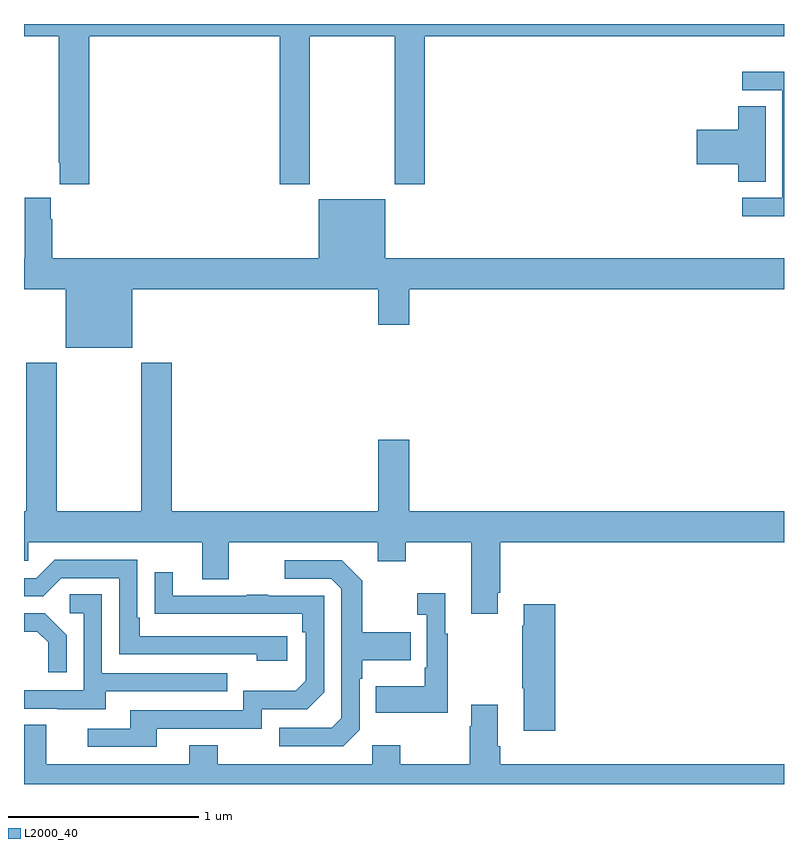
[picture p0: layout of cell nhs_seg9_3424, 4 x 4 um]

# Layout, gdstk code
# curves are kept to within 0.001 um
import gdstk
lib = gdstk.Library(unit=1e-6, precision=1e-09)
def P(c, l, *ps):  # polygons
    for p in ps: c.add(gdstk.Polygon(p, *l))
L2000_40 = (2000, 40)

nhs_seg9_3424 = lib.new_cell('nhs_seg9_3424')
P(nhs_seg9_3424, L2000_40, [(307,1180.436),(307.183,1180.436),(307.183,1179.769),(307.187,1179.769),(307.187,1179.657),(307.343,1179.657),(307.343,1180.436),(308.345,1180.436),(308.345,1179.657),(308.505,1179.657),(308.505,1180.436),(308.95,1180.436),(308.95,1179.657),(309.11,1179.657),(309.11,1180.436),(311,1180.436),(311,1180.5),(307,1180.5)],
  [(311,1180.248),(310.779,1180.248),(310.779,1180.152),(310.992,1180.152),(310.992,1179.585),(310.779,1179.585),(310.779,1179.487),(311,1179.487)],
  [(310.903,1180.067),(310.76,1180.067),(310.76,1179.944),(310.542,1179.944),(310.542,1179.761),(310.76,1179.761),(310.76,1179.67),(310.903,1179.67)],
  [(307.57,1179.104),(308.864,1179.104),(308.864,1178.916),(309.028,1178.916),(309.028,1179.104),(311,1179.104),(311,1179.268),(308.902,1179.268),(308.902,1179.577),(308.552,1179.577),(308.552,1179.268),(307.148,1179.268),(307.148,1179.473),(307.141,1179.473),(307.141,1179.586),(307.004,1179.586),(307.004,1179.268),(307,1179.268),(307,1179.104),(307.22,1179.104),(307.22,1178.795),(307.57,1178.795)],
  [(309.493,1177.507),(309.506,1177.507),(309.506,1177.772),(311,1177.772),(311,1177.936),(309.028,1177.936),(309.028,1178.311),(308.864,1178.311),(308.864,1177.936),(307.778,1177.936),(307.778,1178.716),(307.618,1178.716),(307.618,1177.936),(307.173,1177.936),(307.173,1178.716),(307.013,1178.716),(307.013,1177.936),(307,1177.936),(307,1177.674),(307.023,1177.674),(307.023,1177.772),(307.937,1177.772),(307.937,1177.578),(308.077,1177.578),(308.077,1177.772),(308.861,1177.772),(308.861,1177.673),(309.009,1177.673),(309.009,1177.772),(309.353,1177.772),(309.353,1177.395),(309.493,1177.395)],
  [(308.386,1177.278),(307.609,1177.278),(307.609,1177.375),(307.596,1177.375),(307.596,1177.68),(307.161,1177.68),(307.065,1177.584),(307,1177.584),(307,1177.488),(307.101,1177.488),(307.197,1177.584),(307.5,1177.584),(307.5,1177.182),(308.225,1177.182),(308.225,1177.148),(308.386,1177.148)],
  [(308.766,1176.786),(308.766,1177.055),(308.779,1177.055),(308.779,1177.151),(309.035,1177.151),(309.035,1177.299),(308.779,1177.299),(308.779,1177.571),(308.673,1177.677),(308.373,1177.677),(308.373,1177.581),(308.616,1177.581),(308.67,1177.527),(308.67,1176.846),(308.619,1176.795),(308.343,1176.795),(308.343,1176.699),(308.679,1176.699)],
  [(307.699,1176.792),(308.25,1176.792),(308.25,1176.894),(308.49,1176.894),(308.58,1176.984),(308.58,1177.491),(308.285,1177.491),(308.285,1177.496),(308.173,1177.496),(308.173,1177.491),(307.783,1177.491),(307.783,1177.615),(307.687,1177.615),(307.687,1177.396),(308.464,1177.395),(308.464,1177.298),(308.484,1177.298),(308.484,1177.044),(308.431,1176.991),(308.154,1176.991),(308.154,1176.888),(307.559,1176.888),(307.559,1176.792),(307.335,1176.792),(307.335,1176.696),(307.699,1176.696)],
  [(309.229,1177.291),(309.217,1177.291),(309.217,1177.504),(309.069,1177.504),(309.069,1177.391),(309.12,1177.391),(309.12,1177.111),(309.108,1177.111),(309.108,1177.015),(308.851,1177.015),(308.851,1176.875),(309.229,1176.875)],
  [(307.429,1176.987),(308.069,1176.987),(308.069,1177.083),(307.41,1177.083),(307.41,1177.499),(307.242,1177.499),(307.242,1177.398),(307.314,1177.398),(307.314,1176.993),(307,1176.993),(307,1176.897),(307.175,1176.897),(307.175,1176.893),(307.429,1176.893)],
  [(309.797,1177.447),(309.629,1177.447),(309.629,1177.334),(309.622,1177.334),(309.622,1177.003),(309.629,1177.003),(309.629,1176.78),(309.797,1176.78)],
  [(307.224,1177.282),(307.108,1177.398),(307,1177.398),(307,1177.302),(307.07,1177.302),(307.127,1177.245),(307.127,1177.089),(307.224,1177.089)],
  [(309.506,1176.7),(309.493,1176.7),(309.493,1176.916),(309.353,1176.916),(309.353,1176.803),(309.346,1176.803),(309.346,1176.604),(308.979,1176.604),(308.979,1176.703),(308.832,1176.703),(308.832,1176.604),(308.019,1176.604),(308.019,1176.703),(307.871,1176.703),(307.871,1176.604),(307.117,1176.604),(307.117,1176.812),(307,1176.812),(307,1176.5),(311,1176.5),(311,1176.604),(309.506,1176.604)])

lib.write_gds('nhs_seg9_3424.gds')
